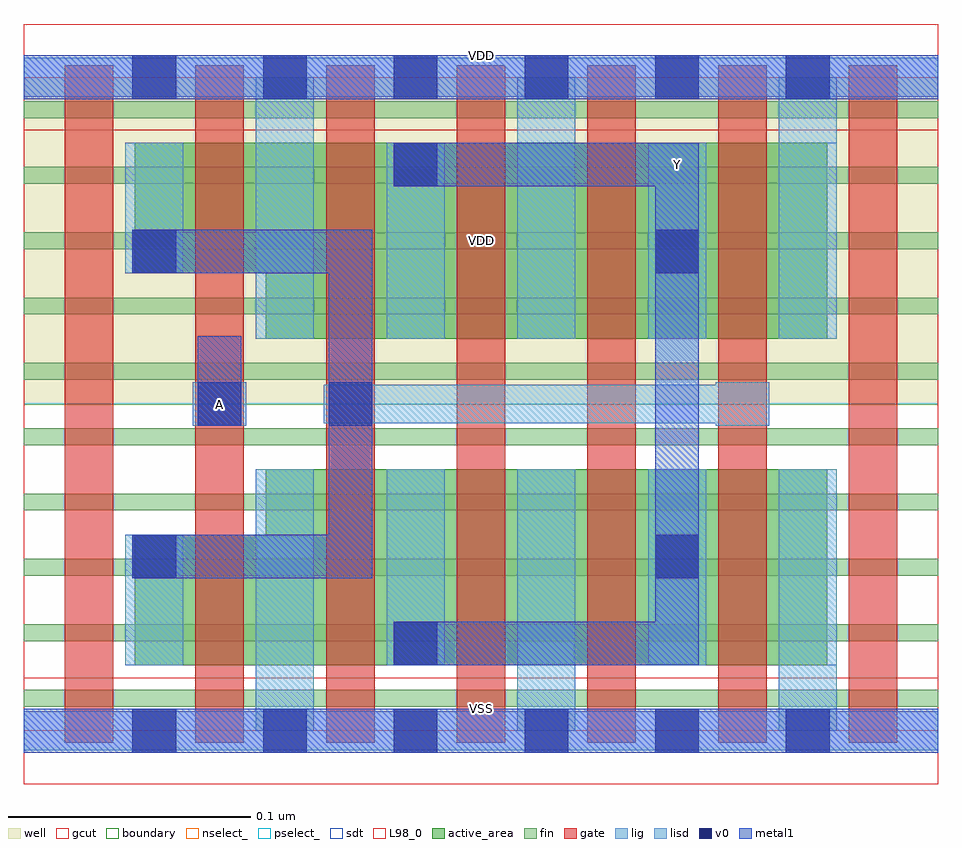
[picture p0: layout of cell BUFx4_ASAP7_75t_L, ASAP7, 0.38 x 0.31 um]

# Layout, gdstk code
import gdstk
lib = gdstk.Library(unit=1e-6, precision=2.5e-10)
def R(c, l, rs):  # rectangles x0, y0, x1, y1
    for r in rs: c.add(gdstk.rectangle(r[:2], r[2:], *l))
def A(c, l, x, y, w, h, nx, ny, dx, dy):  # array of equal rectangles
    R(c, l, [(x+i*dx, y+j*dy, x+i*dx+w, y+j*dy+h) for i in range(nx) for j in range(ny)])
def P(c, l, *ps):  # polygons
    for p in ps: c.add(gdstk.Polygon(p, *l))
well = (1, 0)
fin = (2, 0)
gate = (7, 0)
gcut = (10, 0)
active_area = (11, 0)
nselect_ = (12, 0)
pselect_ = (13, 0)
lig = (16, 0)
lisd = (17, 0)
v0 = (18, 0)
metal1 = (19, 0)
sdt = (88, 0)
L98_0 = (98, 0)
boundary = (100, 0)

bufx4_asap7_75t_l = lib.new_cell('BUFx4_ASAP7_75t_L')
R(bufx4_asap7_75t_l, well, [(0,0.135,0.378,0.27)])
A(bufx4_asap7_75t_l, fin, 0, 0.01, 0.378, 0.007, 1, 10, 0, 0.027)
A(bufx4_asap7_75t_l, gate, 0.017, -0.005, 0.02, 0.28, 7, 1, 0.054, 0)
R(bufx4_asap7_75t_l, gcut, [(0,-0.022,0.378,0.022), (0,0.248,0.378,0.292)])
P(bufx4_asap7_75t_l, active_area, [(0.1,0.081),(0.046,0.081),(0.046,0.027),(0.332,0.027),(0.332,0.108),(0.1,0.108)],
  [(0.046,0.189),(0.1,0.189),(0.1,0.162),(0.332,0.162),(0.332,0.243),(0.046,0.243)])
R(bufx4_asap7_75t_l, nselect_, [(0,0,0.378,0.135)])
R(bufx4_asap7_75t_l, pselect_, [(0,0.135,0.378,0.27)])
R(bufx4_asap7_75t_l, lig, [(0,-0.008,0.378,0.008), (0.07,0.126,0.092,0.144), (0.286,0.126,0.308,0.144), (0.124,0.127,0.308,0.143), (0,0.262,0.378,0.278)])
R(bufx4_asap7_75t_l, lisd, [(0.096,0,0.12,0.108), (0.096,0,0.12,0.108), (0.204,0,0.228,0.108), (0.204,0,0.228,0.108), (0.312,0,0.336,0.108), (0.312,0,0.336,0.108), (0.042,0.027,0.066,0.081), (0.15,0.027,0.174,0.108), (0.258,0.027,0.282,0.108), (0.096,0.162,0.12,0.27), (0.096,0.162,0.12,0.27), (0.15,0.162,0.174,0.243), (0.204,0.162,0.228,0.27), (0.204,0.162,0.228,0.27), (0.258,0.162,0.282,0.243), (0.312,0.162,0.336,0.27), (0.312,0.162,0.336,0.27), (0.042,0.189,0.066,0.243)])
A(bufx4_asap7_75t_l, v0, 0.045, -0.009, 0.018, 0.018, 6, 2, 0.054, 0.27)
R(bufx4_asap7_75t_l, v0, [(0.153,0.027,0.171,0.045), (0.045,0.063,0.063,0.081), (0.261,0.063,0.279,0.081), (0.072,0.126,0.09,0.144), (0.126,0.126,0.144,0.144), (0.045,0.189,0.063,0.207), (0.261,0.189,0.279,0.207), (0.153,0.225,0.171,0.243)])
R(bufx4_asap7_75t_l, metal1, [(0,-0.009,0.378,0.009), (0.153,0.027,0.171,0.045), (0.045,0.063,0.063,0.081), (0.261,0.063,0.279,0.081), (0.072,0.126,0.09,0.144), (0.072,0.126,0.09,0.163), (0.126,0.126,0.144,0.144), (0.045,0.189,0.063,0.207), (0.261,0.189,0.279,0.207), (0.153,0.225,0.171,0.243), (0,0.261,0.378,0.279)])
P(bufx4_asap7_75t_l, metal1, [(0.045,0.207),(0.045,0.189),(0.126,0.189),(0.126,0.081),(0.045,0.081),(0.045,0.063),(0.144,0.063),(0.144,0.207)],
  [(0.153,0.243),(0.153,0.225),(0.261,0.225),(0.261,0.045),(0.153,0.045),(0.153,0.027),(0.279,0.027),(0.279,0.243)])
A(bufx4_asap7_75t_l, sdt, 0.096, 0.027, 0.024, 0.081, 3, 2, 0.054, 0.135)
A(bufx4_asap7_75t_l, sdt, 0.204, 0.027, 0.024, 0.081, 3, 2, 0.054, 0.135)
R(bufx4_asap7_75t_l, sdt, [(0.042,0.027,0.066,0.081), (0.096,0.027,0.12,0.108), (0.312,0.027,0.336,0.108), (0.096,0.162,0.12,0.243), (0.312,0.162,0.336,0.243), (0.042,0.189,0.066,0.243)])
R(bufx4_asap7_75t_l, L98_0, [(0,0,0.378,0.27)])
R(bufx4_asap7_75t_l, boundary, [(0,0,0.378,0.27)])
bufx4_asap7_75t_l.add(gdstk.Label('VDD', (0.189,0.2025), layer=1, texttype=251))
bufx4_asap7_75t_l.add(gdstk.Label('VSS', (0.189,-0.0675), layer=3, texttype=251))
bufx4_asap7_75t_l.add(gdstk.Label('VSS', (0.189,0.009), layer=19, texttype=251))
bufx4_asap7_75t_l.add(gdstk.Label('VDD', (0.189,0.279), layer=19, texttype=251))
bufx4_asap7_75t_l.add(gdstk.Label('A', (0.081,0.135), layer=19, texttype=251))
bufx4_asap7_75t_l.add(gdstk.Label('Y', (0.27,0.234), layer=19, texttype=251))

lib.write_gds('BUFx4_ASAP7_75t_L.gds')
